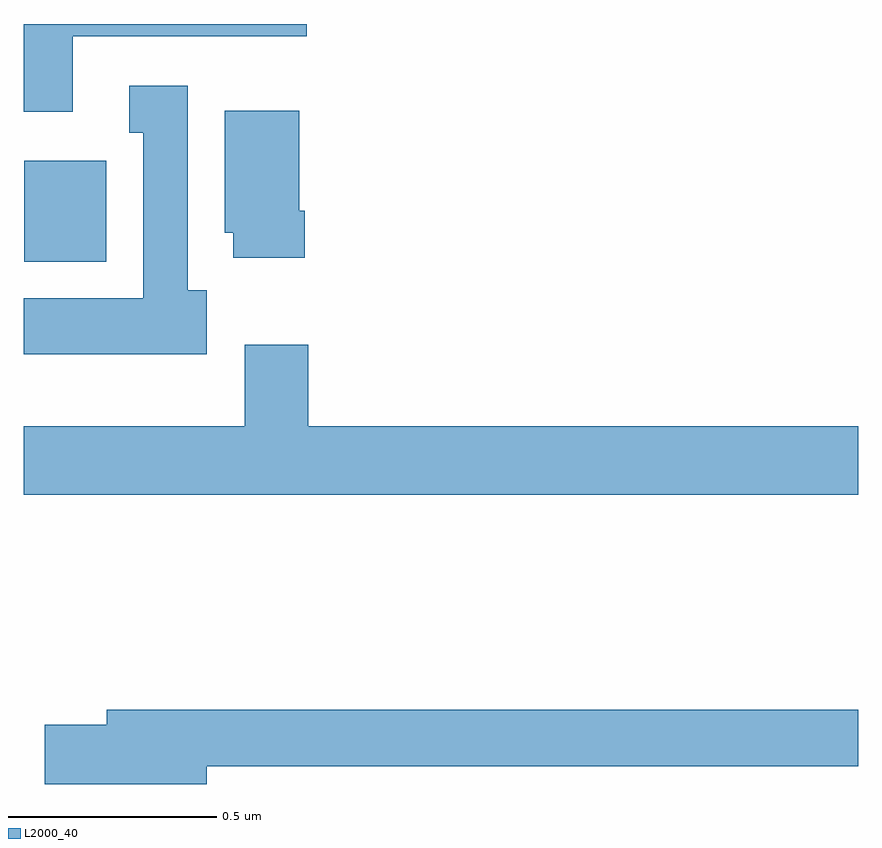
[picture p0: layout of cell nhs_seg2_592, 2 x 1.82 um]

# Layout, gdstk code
import gdstk
lib = gdstk.Library(unit=1e-6, precision=1e-09)
def R(c, l, rs):  # rectangles x0, y0, x1, y1
    for r in rs: c.add(gdstk.rectangle(r[:2], r[2:], *l))
def P(c, l, *ps):  # polygons
    for p in ps: c.add(gdstk.Polygon(p, *l))
L2000_40 = (2000, 40)

nhs_seg2_592 = lib.new_cell('nhs_seg2_592')
R(nhs_seg2_592, L2000_40, [(118.001,612.23,118.198,612.472)])
P(nhs_seg2_592, L2000_40, [(118.117,612.771),(118.678,612.771),(118.678,612.8),(118,612.8),(118,612.59),(118.117,612.59)],
  [(118.438,612.162),(118.393,612.162),(118.393,612.652),(118.253,612.652),(118.253,612.539),(118.286,612.539),(118.286,612.142),(118,612.142),(118,612.008),(118.438,612.008)],
  [(118.673,612.352),(118.66,612.352),(118.66,612.592),(118.481,612.592),(118.481,612.3),(118.502,612.3),(118.502,612.24),(118.673,612.24)],
  [(120,611.836),(118.682,611.836),(118.682,612.031),(118.529,612.031),(118.529,611.836),(118,611.836),(118,611.672),(120,611.672)],
  [(118.438,611.02),(120,611.02),(120,611.156),(118.199,611.156),(118.199,611.12),(118.05,611.12),(118.05,610.978),(118.438,610.978)])

lib.write_gds('nhs_seg2_592.gds')
